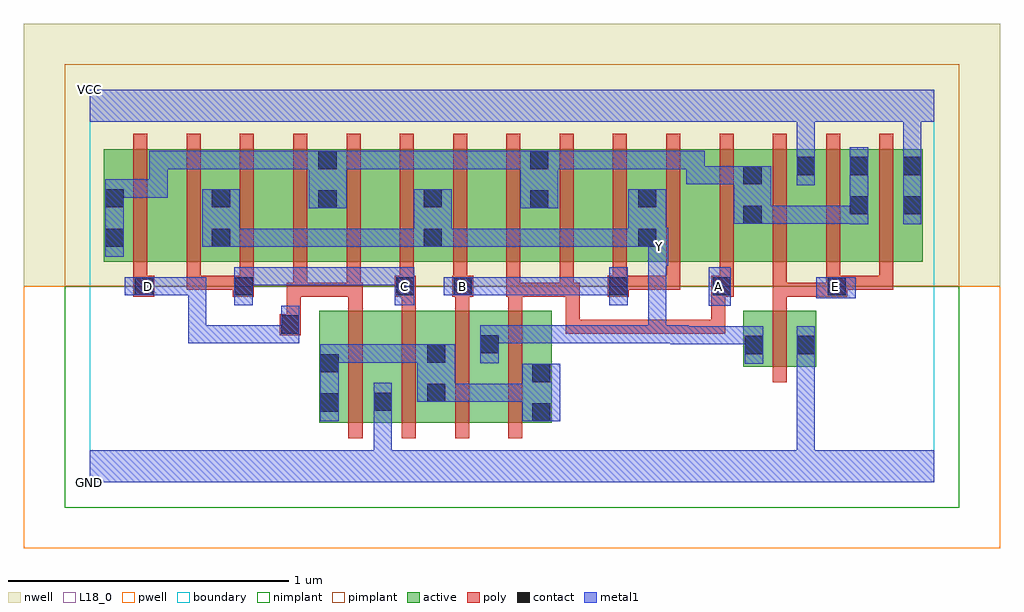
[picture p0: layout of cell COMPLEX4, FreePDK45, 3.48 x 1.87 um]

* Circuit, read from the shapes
.subckt COMPLEX4 A B C D E GND VCC Y
M1 GND D n1 VSUBS nfet w=0.4u l=0.05u
M2 n1 C GND VSUBS nfet w=0.4u l=0.05u
M3 Y B n1 VSUBS nfet w=0.4u l=0.05u
M4 n1 A Y VSUBS nfet w=0.4u l=0.05u
M5 GND E Y VSUBS nfet w=0.2u l=0.05u
M6 n2 D n3 n4 pfet w=0.4u l=0.05u
M7 Y C n2 n4 pfet w=0.4u l=0.05u
M8 n5 C Y n4 pfet w=0.4u l=0.05u
M9 n3 D n5 n4 pfet w=0.4u l=0.05u
M10 n6 D n3 n4 pfet w=0.4u l=0.05u
M11 Y C n6 n4 pfet w=0.4u l=0.05u
M12 n7 B Y n4 pfet w=0.4u l=0.05u
M13 n3 A n7 n4 pfet w=0.4u l=0.05u
M14 n8 A n3 n4 pfet w=0.4u l=0.05u
M15 Y B n8 n4 pfet w=0.4u l=0.05u
M16 n9 B Y n4 pfet w=0.4u l=0.05u
M17 n3 A n9 n4 pfet w=0.4u l=0.05u
M18 VCC E n3 n4 pfet w=0.4u l=0.05u m=3
.ends

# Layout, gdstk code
import gdstk
lib = gdstk.Library(unit=1e-6, precision=1e-09)
def R(c, l, rs):  # rectangles x0, y0, x1, y1
    for r in rs: c.add(gdstk.rectangle(r[:2], r[2:], *l))
def A(c, l, x, y, w, h, nx, ny, dx, dy):  # array of equal rectangles
    R(c, l, [(x+i*dx, y+j*dy, x+i*dx+w, y+j*dy+h) for i in range(nx) for j in range(ny)])
active = (1, 0)
pwell = (2, 0)
nwell = (3, 0)
nimplant = (4, 0)
pimplant = (5, 0)
poly = (9, 0)
contact = (10, 0)
metal1 = (11, 0)
L18_0 = (18, 0)
boundary = (235, 0)

complex4 = lib.new_cell('COMPLEX4')
A(complex4, active, 0.817, 0.212, 0.265, 0.4, 3, 1, 0.19, 0)
A(complex4, active, 0.05, 0.787, 0.225, 0.4, 3, 1, 0.38, 0)
A(complex4, active, 2.325, 0.787, 0.265, 0.4, 3, 1, 0.19, 0)
A(complex4, active, 2.515, 0.787, 0.075, 0.4, 3, 1, 0.19, 0)
R(complex4, active, [(0.817,0.212,0.892,0.612), (1.387,0.212,1.647,0.612), (1.572,0.212,1.647,0.612), (1.007,0.245,1.082,0.492), (1.197,0.245,1.272,0.497), (1.387,0.245,1.462,0.53), (2.33,0.412,2.59,0.612), (2.33,0.412,2.405,0.612), (2.515,0.445,2.59,0.612), (0.05,0.787,0.125,1.155), (0.275,0.787,0.505,1.187), (0.43,0.787,0.505,1.07), (0.655,0.787,0.885,1.187), (0.81,0.787,0.885,1.187), (1.035,0.787,1.26,1.187), (1.185,0.787,1.26,1.07), (1.185,0.787,1.415,1.187), (1.415,0.787,1.64,1.187), (1.565,0.787,1.64,1.187), (1.565,0.787,1.795,1.187), (1.795,0.787,2.025,1.187), (1.95,0.787,2.175,1.187), (1.95,0.787,2.025,1.07), (2.175,0.787,2.4,1.187), (2.325,0.787,2.4,1.155)])
R(complex4, pwell, [(-0.235,-0.235,3.245,0.7)])
R(complex4, nwell, [(-0.235,0.7,3.245,1.635)])
R(complex4, nimplant, [(-0.09,-0.09,3.1,0.7)])
R(complex4, pimplant, [(-0.09,0.7,3.1,1.49)])
A(complex4, poly, 0.922, 0.157, 0.05, 0.51, 4, 1, 0.19, 0)
A(complex4, poly, 0.922, 0.617, 0.05, 0.095, 4, 1, 0.19, 0)
A(complex4, poly, 0.155, 0.687, 0.05, 0.095, 3, 1, 0.19, 0)
A(complex4, poly, 1.865, 0.687, 0.05, 0.095, 3, 1, 0.19, 0)
A(complex4, poly, 0.155, 0.732, 0.05, 0.51, 15, 1, 0.19, 0)
R(complex4, poly, [(2.435,0.357,2.485,0.667), (0.677,0.525,0.752,0.6), (1.697,0.53,1.747,0.58), (1.697,0.53,1.747,0.58), (1.697,0.53,1.747,0.58), (1.697,0.53,1.747,0.58), (1.697,0.53,1.747,0.58), (1.697,0.53,1.747,0.712), (1.697,0.53,1.972,0.58), (1.922,0.53,1.972,0.58), (1.922,0.53,1.972,0.58), (1.922,0.53,1.972,0.58), (1.922,0.53,2.105,0.58), (2.055,0.53,2.105,0.58), (2.055,0.53,2.265,0.58), (2.215,0.53,2.265,0.58), (2.215,0.53,2.265,0.58), (2.215,0.53,2.265,0.58), (2.215,0.53,2.265,0.58), (2.215,0.53,2.265,0.58), (2.215,0.53,2.265,0.712), (0.702,0.55,0.752,0.712), (2.435,0.617,2.485,0.712), (0.155,0.662,0.23,0.737), (0.51,0.662,0.585,0.737), (0.702,0.662,0.767,0.712), (0.717,0.662,0.767,0.712), (0.717,0.662,0.775,0.712), (0.725,0.662,0.775,0.712), (0.725,0.662,0.775,0.712), (0.725,0.662,0.965,0.712), (0.725,0.662,0.775,0.782), (0.915,0.662,0.965,0.782), (0.915,0.662,0.972,0.712), (1.087,0.662,1.162,0.737), (1.292,0.662,1.367,0.737), (1.485,0.662,1.535,0.782), (1.485,0.662,1.542,0.712), (1.492,0.662,1.542,0.712), (1.492,0.662,1.542,0.712), (1.492,0.662,1.725,0.712), (1.675,0.662,1.725,0.782), (1.675,0.662,1.747,0.712), (1.847,0.662,1.922,0.737), (2.215,0.662,2.295,0.737), (2.435,0.662,2.485,0.712), (2.435,0.662,2.485,0.712), (2.435,0.662,2.485,0.712), (2.435,0.662,2.675,0.712), (2.435,0.662,2.485,0.782), (2.625,0.662,2.7,0.737), (0.345,0.687,0.395,0.737), (0.345,0.687,0.56,0.737), (0.51,0.687,0.56,0.737), (0.51,0.687,0.56,0.737), (1.105,0.687,1.155,0.782), (1.295,0.687,1.345,0.782), (1.872,0.687,1.922,0.737), (1.872,0.687,1.922,0.737), (1.872,0.687,2.105,0.737), (2.055,0.687,2.105,0.737), (2.625,0.687,2.675,0.782), (2.65,0.687,2.865,0.737), (2.815,0.687,2.865,0.782), (2.815,0.687,2.865,0.737), (2.815,0.687,2.865,0.737), (2.815,0.687,2.865,0.737)])
A(complex4, contact, 2.52, 1.095, 0.065, 0.065, 3, 1, 0.19, 0)
R(complex4, contact, [(1.577,0.217,1.642,0.282), (0.822,0.252,0.887,0.317), (1.012,0.255,1.077,0.32), (1.202,0.287,1.267,0.352), (1.577,0.357,1.642,0.422), (0.822,0.392,0.887,0.457), (1.202,0.427,1.267,0.492), (2.335,0.457,2.4,0.522), (2.52,0.457,2.585,0.522), (1.392,0.46,1.457,0.525), (0.682,0.53,0.747,0.595), (0.16,0.667,0.225,0.732), (0.515,0.667,0.58,0.732), (1.092,0.667,1.157,0.732), (1.297,0.667,1.362,0.732), (1.852,0.667,1.917,0.732), (2.22,0.667,2.285,0.732), (2.63,0.667,2.695,0.732), (0.055,0.84,0.12,0.905), (0.435,0.84,0.5,0.905), (1.19,0.84,1.255,0.905), (1.955,0.84,2.02,0.905), (2.33,0.922,2.395,0.987), (2.71,0.955,2.775,1.02), (2.9,0.955,2.965,1.02), (0.815,0.977,0.88,1.042), (1.57,0.977,1.635,1.042), (0.055,0.98,0.12,1.045), (0.435,0.98,0.5,1.045), (1.19,0.98,1.255,1.045), (1.955,0.98,2.02,1.045), (2.33,1.062,2.395,1.127), (0.815,1.117,0.88,1.182), (1.57,1.117,1.635,1.182)])
R(complex4, metal1, [(0,0,3.01,0.115), (1.012,0.05,1.077,0.285), (2.52,0.05,2.585,0.487), (0.822,0.217,0.887,0.492), (1.542,0.217,1.677,0.422), (1.012,0.22,1.077,0.285), (1.012,0.22,1.077,0.285), (1.012,0.22,1.077,0.355), (1.167,0.287,1.302,0.492), (1.237,0.287,1.302,0.352), (1.237,0.287,1.302,0.352), (1.237,0.287,1.302,0.352), (1.237,0.287,1.302,0.352), (1.237,0.287,1.44,0.352), (1.375,0.287,1.44,0.352), (1.375,0.287,1.607,0.352), (1.542,0.287,1.607,0.352), (1.542,0.287,1.607,0.352), (2.335,0.422,2.4,0.557), (2.52,0.422,2.585,0.487), (2.52,0.422,2.585,0.487), (2.52,0.422,2.585,0.487), (2.52,0.422,2.585,0.487), (2.52,0.422,2.585,0.487), (2.52,0.422,2.585,0.487), (2.52,0.422,2.585,0.557), (1.392,0.425,1.457,0.56), (0.822,0.427,0.982,0.492), (0.917,0.427,0.982,0.492), (0.917,0.427,1.082,0.492), (1.017,0.427,1.082,0.492), (1.017,0.427,1.152,0.492), (1.087,0.427,1.152,0.492), (1.087,0.427,1.232,0.492), (2.07,0.492,2.222,0.557), (2.07,0.492,2.135,0.56), (2.157,0.492,2.222,0.557), (2.157,0.492,2.33,0.557), (2.265,0.492,2.33,0.557), (2.265,0.492,2.4,0.557), (0.35,0.495,0.415,0.56), (0.35,0.495,0.57,0.56), (0.35,0.495,0.415,0.732), (0.505,0.495,0.57,0.56), (0.505,0.495,0.69,0.56), (0.625,0.495,0.69,0.56), (0.625,0.495,0.69,0.56), (0.625,0.495,0.69,0.56), (0.625,0.495,0.747,0.56), (0.682,0.495,0.747,0.63), (1.392,0.495,1.607,0.56), (1.542,0.495,1.607,0.56), (1.542,0.495,1.607,0.56), (1.542,0.495,1.607,0.56), (1.542,0.495,1.745,0.56), (1.68,0.495,1.745,0.56), (1.68,0.495,1.847,0.56), (1.782,0.495,1.847,0.56), (1.782,0.495,1.882,0.56), (1.817,0.495,1.882,0.56), (1.817,0.495,2.055,0.56), (1.99,0.495,2.055,0.56), (1.99,0.495,2.135,0.56), (1.99,0.495,2.055,0.837), (2.207,0.63,2.285,0.767), (0.515,0.632,0.58,0.767), (1.087,0.632,1.157,0.767), (1.852,0.632,1.917,0.767), (2.59,0.657,2.73,0.732), (0.125,0.667,0.277,0.732), (0.212,0.667,0.277,0.732), (0.212,0.667,0.277,0.732), (0.212,0.667,0.415,0.732), (0.35,0.667,0.415,0.732), (0.35,0.667,0.415,0.732), (0.35,0.667,0.415,0.732), (1.262,0.667,1.397,0.732), (1.332,0.667,1.462,0.732), (1.397,0.667,1.462,0.732), (1.397,0.667,1.607,0.732), (1.542,0.667,1.607,0.732), (1.542,0.667,1.607,0.732), (1.542,0.667,1.607,0.732), (1.542,0.667,1.745,0.732), (1.68,0.667,1.745,0.732), (1.68,0.667,1.807,0.732), (1.742,0.667,1.807,0.732), (1.742,0.667,1.917,0.732), (0.515,0.702,0.707,0.767), (0.642,0.702,0.707,0.767), (0.642,0.702,0.845,0.767), (0.78,0.702,0.845,0.767), (0.78,0.702,0.845,0.767), (0.78,0.702,0.845,0.767), (0.78,0.702,0.982,0.767), (0.917,0.702,0.982,0.767), (0.917,0.702,1.052,0.767), (0.987,0.702,1.052,0.767), (0.987,0.702,1.152,0.767), (1.99,0.772,2.062,0.907), (0.055,0.805,0.12,1.08), (0.4,0.84,0.535,1.045), (0.47,0.84,0.552,0.905), (0.487,0.84,0.552,0.905), (0.487,0.84,0.707,0.905), (0.642,0.84,0.707,0.905), (0.642,0.84,0.845,0.905), (0.78,0.84,0.845,0.905), (0.78,0.84,0.845,0.905), (0.78,0.84,0.845,0.905), (0.78,0.84,1.015,0.905), (0.95,0.84,1.015,0.905), (0.95,0.84,1.052,0.905), (0.987,0.84,1.052,0.905), (0.987,0.84,1.152,0.905), (1.087,0.84,1.152,0.905), (1.087,0.84,1.22,0.905), (1.155,0.84,1.29,1.045), (1.225,0.84,1.29,0.905), (1.225,0.84,1.29,0.905), (1.225,0.84,1.44,0.905), (1.375,0.84,1.44,0.905), (1.375,0.84,1.607,0.905), (1.542,0.84,1.607,0.905), (1.542,0.84,1.607,0.905), (1.542,0.84,1.607,0.905), (1.542,0.84,1.745,0.905), (1.68,0.84,1.745,0.905), (1.68,0.84,1.847,0.905), (1.782,0.84,1.847,0.905), (1.782,0.84,1.985,0.905), (1.92,0.84,1.985,0.905), (1.92,0.84,1.985,0.905), (1.92,0.84,2.055,1.045), (1.99,0.84,2.055,0.905), (2.71,0.92,2.775,1.195), (2.9,0.92,2.965,1.195), (2.295,0.922,2.43,1.127), (2.365,0.922,2.497,0.987), (2.432,0.922,2.497,0.987), (2.432,0.922,2.567,0.987), (2.502,0.922,2.567,0.987), (2.502,0.922,2.775,0.987), (2.71,0.922,2.775,0.987), (2.71,0.922,2.775,0.987), (0.78,0.977,0.915,1.182), (1.535,0.977,1.67,1.182), (0.055,1.015,0.12,1.08), (0.055,1.015,0.12,1.08), (0.055,1.015,0.277,1.08), (0.212,1.015,0.277,1.08), (0.212,1.015,0.277,1.182), (2.52,1.06,2.585,1.195), (2.127,1.062,2.192,1.127), (2.127,1.062,2.36,1.127), (2.127,1.062,2.192,1.182), (2.295,1.062,2.36,1.127), (2.295,1.062,2.36,1.127), (0.212,1.117,0.277,1.182), (0.212,1.117,0.415,1.182), (0.35,1.117,0.415,1.182), (0.35,1.117,0.415,1.182), (0.35,1.117,0.415,1.182), (0.35,1.117,0.552,1.182), (0.487,1.117,0.552,1.182), (0.487,1.117,0.707,1.182), (0.642,1.117,0.707,1.182), (0.642,1.117,0.845,1.182), (0.78,1.117,0.845,1.182), (0.78,1.117,0.845,1.182), (0.85,1.117,0.982,1.182), (0.917,1.117,0.982,1.182), (0.917,1.117,1.082,1.182), (1.017,1.117,1.082,1.182), (1.017,1.117,1.152,1.182), (1.087,1.117,1.152,1.182), (1.087,1.117,1.302,1.182), (1.237,1.117,1.302,1.182), (1.237,1.117,1.44,1.182), (1.375,1.117,1.44,1.182), (1.375,1.117,1.44,1.182), (1.375,1.117,1.44,1.182), (1.375,1.117,1.6,1.182), (1.535,1.117,1.6,1.182), (1.535,1.117,1.6,1.182), (1.605,1.117,1.745,1.182), (1.68,1.117,1.745,1.182), (1.68,1.117,1.847,1.182), (1.782,1.117,1.847,1.182), (1.782,1.117,1.997,1.182), (1.932,1.117,1.997,1.182), (1.932,1.117,1.997,1.182), (1.932,1.117,1.997,1.182), (1.932,1.117,2.135,1.182), (2.07,1.117,2.135,1.182), (2.07,1.117,2.192,1.182), (2.127,1.117,2.192,1.182), (2.52,1.13,2.585,1.35), (2.9,1.13,2.965,1.35), (0,1.285,3.01,1.4)])
R(complex4, L18_0, [(0,0,3.01,0.115), (1.012,0.05,1.077,0.285), (2.52,0.05,2.585,0.487), (1.012,0.22,1.077,0.285), (1.012,0.22,1.077,0.285), (1.012,0.22,1.077,0.355), (2.335,0.422,2.4,0.557), (2.52,0.422,2.585,0.487), (2.52,0.422,2.585,0.487), (2.52,0.422,2.585,0.487), (2.52,0.422,2.585,0.487), (2.52,0.422,2.585,0.487), (2.52,0.422,2.585,0.487), (2.52,0.422,2.585,0.557), (1.392,0.425,1.457,0.56), (2.07,0.492,2.222,0.557), (2.07,0.492,2.135,0.56), (2.157,0.492,2.222,0.557), (2.157,0.492,2.33,0.557), (2.265,0.492,2.33,0.557), (2.265,0.492,2.4,0.557), (0.35,0.495,0.415,0.56), (0.35,0.495,0.415,0.732), (0.35,0.495,0.57,0.56), (0.505,0.495,0.57,0.56), (0.505,0.495,0.69,0.56), (0.625,0.495,0.69,0.56), (0.625,0.495,0.69,0.56), (0.625,0.495,0.69,0.56), (0.625,0.495,0.747,0.56), (0.682,0.495,0.747,0.63), (1.392,0.495,1.607,0.56), (1.542,0.495,1.607,0.56), (1.542,0.495,1.607,0.56), (1.542,0.495,1.607,0.56), (1.542,0.495,1.745,0.56), (1.68,0.495,1.745,0.56), (1.68,0.495,1.847,0.56), (1.782,0.495,1.847,0.56), (1.782,0.495,1.882,0.56), (1.817,0.495,1.882,0.56), (1.817,0.495,2.055,0.56), (1.99,0.495,2.055,0.56), (1.99,0.495,2.055,0.837), (1.99,0.495,2.135,0.56), (2.207,0.63,2.285,0.767), (0.515,0.632,0.58,0.767), (1.087,0.632,1.157,0.767), (1.852,0.632,1.917,0.767), (2.59,0.657,2.73,0.732), (0.125,0.667,0.277,0.732), (0.177,0.667,0.242,0.732), (0.212,0.667,0.277,0.732), (0.212,0.667,0.277,0.732), (0.212,0.667,0.415,0.732), (0.35,0.667,0.415,0.732), (0.35,0.667,0.415,0.732), (0.35,0.667,0.415,0.732), (1.087,0.667,1.152,0.732), (1.262,0.667,1.397,0.732), (1.297,0.667,1.362,0.732), (1.332,0.667,1.462,0.732), (1.397,0.667,1.462,0.732), (1.397,0.667,1.607,0.732), (1.542,0.667,1.607,0.732), (1.542,0.667,1.607,0.732), (1.542,0.667,1.607,0.732), (1.542,0.667,1.745,0.732), (1.68,0.667,1.745,0.732), (1.68,0.667,1.807,0.732), (1.742,0.667,1.807,0.732), (1.742,0.667,1.917,0.732), (2.207,0.667,2.272,0.732), (2.627,0.667,2.692,0.732), (0.515,0.702,0.707,0.767), (0.642,0.702,0.707,0.767), (0.642,0.702,0.845,0.767), (0.78,0.702,0.845,0.767), (0.78,0.702,0.845,0.767), (0.78,0.702,0.845,0.767), (0.78,0.702,0.982,0.767), (0.917,0.702,0.982,0.767), (0.917,0.702,1.052,0.767), (0.987,0.702,1.052,0.767), (0.987,0.702,1.152,0.767), (1.99,0.772,2.062,0.907), (1.997,0.807,2.062,0.872), (0.4,0.84,0.535,1.045), (0.47,0.84,0.552,0.905), (0.487,0.84,0.552,0.905), (0.487,0.84,0.707,0.905), (0.642,0.84,0.707,0.905), (0.642,0.84,0.845,0.905), (0.78,0.84,0.845,0.905), (0.78,0.84,0.845,0.905), (0.78,0.84,0.845,0.905), (0.78,0.84,1.015,0.905), (0.95,0.84,1.015,0.905), (0.95,0.84,1.052,0.905), (0.987,0.84,1.052,0.905), (0.987,0.84,1.152,0.905), (1.087,0.84,1.152,0.905), (1.087,0.84,1.22,0.905), (1.155,0.84,1.29,1.045), (1.225,0.84,1.29,0.905), (1.225,0.84,1.29,0.905), (1.225,0.84,1.44,0.905), (1.375,0.84,1.44,0.905), (1.375,0.84,1.607,0.905), (1.542,0.84,1.607,0.905), (1.542,0.84,1.607,0.905), (1.542,0.84,1.607,0.905), (1.542,0.84,1.745,0.905), (1.68,0.84,1.745,0.905), (1.68,0.84,1.847,0.905), (1.782,0.84,1.847,0.905), (1.782,0.84,1.985,0.905), (1.92,0.84,1.985,0.905), (1.92,0.84,1.985,0.905), (1.92,0.84,2.055,1.045), (1.99,0.84,2.055,0.905), (2.9,0.92,2.965,1.195), (2.52,1.06,2.585,1.195), (2.52,1.13,2.585,1.35), (2.9,1.13,2.965,1.35), (0,1.285,3.01,1.4)])
R(complex4, boundary, [(0,0,3.01,1.4)])
complex4.add(gdstk.Label('A', (2.24,0.7), layer=11, texttype=0))
complex4.add(gdstk.Label('B', (1.33,0.7), layer=11, texttype=0))
complex4.add(gdstk.Label('C', (1.12,0.7), layer=11, texttype=0))
complex4.add(gdstk.Label('D', (0.21,0.7), layer=11, texttype=0))
complex4.add(gdstk.Label('E', (2.66,0.7), layer=11, texttype=0))
complex4.add(gdstk.Label('Y', (2.03,0.84), layer=11, texttype=0))
complex4.add(gdstk.Label('VCC', (0,1.4), layer=11, texttype=0))
complex4.add(gdstk.Label('GND', (0,0), layer=11, texttype=0))

lib.write_gds('COMPLEX4.gds')
